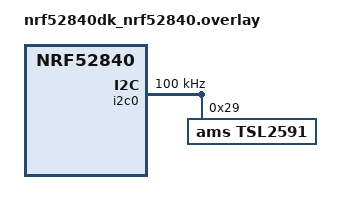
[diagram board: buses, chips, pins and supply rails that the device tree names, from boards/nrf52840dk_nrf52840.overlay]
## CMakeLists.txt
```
cmake_minimum_required(VERSION 3.20.0)

find_package(Zephyr REQUIRED HINTS $ENV{ZEPHYR_BASE})
project(rust_ble_app)

target_sources(app PRIVATE src/ble_wrapper.c)

rust_cargo_application()
```

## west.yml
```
manifest:
  remotes:
  - name: zephyr
    url-base: https://github.com/zephyrproject-rtos

  projects:
  - name: zephyr
    path: zephyr
    remote: zephyr
    revision: v4.2.1
    import:
       true

  - name: zephyr-lang-rust
    path: modules/lang/rust
    remote: zephyr
    revision: main
```

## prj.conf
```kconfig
CONFIG_RUST=y
CONFIG_BT=y
CONFIG_BT_PERIPHERAL=y
CONFIG_BT_DEVICE_NAME="Rust BLE"

CONFIG_SENSOR=y
```

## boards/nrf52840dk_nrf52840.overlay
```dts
/ {
  	aliases {
  		light-sensor = &tsl2591;
	};
};

&i2c0 {
	status = "okay";
	clock-frequency = <I2C_BITRATE_STANDARD>;
	tsl2591: tsl2591@29 {
		status ="okay";
		compatible = "ams,tsl2591";
		reg = <0x29>;
	};
};
```

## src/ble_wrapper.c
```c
#include <zephyr/kernel.h>
#include <zephyr/bluetooth/bluetooth.h>
#include <zephyr/bluetooth/hci.h>
#include <zephyr/bluetooth/conn.h>
#include <zephyr/bluetooth/uuid.h>
#include <zephyr/bluetooth/gatt.h>

#include <zephyr/device.h>

extern void rust_ble_disconnected(void);

// Simplified API for Rust
static void bt_ready(int err)
{
    if (err) {
        printk("Bluetooth init failed (err %d)\n", err);
        return;
    }
    printk("Bluetooth initialized\n");
}

// Simple C function that Rust can call
int ble_init(void)
{
    return bt_enable(bt_ready);
}

static const struct bt_data sd[] = {
	BT_DATA_BYTES(BT_DATA_FLAGS, (BT_LE_AD_GENERAL | BT_LE_AD_NO_BREDR)),
};

static const struct bt_data ad[] = {
	BT_DATA(BT_DATA_NAME_COMPLETE, CONFIG_BT_DEVICE_NAME, sizeof(CONFIG_BT_DEVICE_NAME) - 1)
};

int ble_start_advertising(void)
{
    return bt_le_adv_start(BT_LE_ADV_CONN, ad, ARRAY_SIZE(ad), sd, ARRAY_SIZE(sd));
}

// Connection callback
static void connected(struct bt_conn *conn, uint8_t err)
{
    if (err) {
        printk("Connection failed (err %u)\n", err);
        return;
    }
    printk("Connected\n");
    
    // Call Rust callback if needed
    extern void rust_ble_connected(void);
    rust_ble_connected();
}

static void disconnected(struct bt_conn *conn, uint8_t reason)
{
    printk("Disconnected (reason %u)\n", reason);
    
    rust_ble_disconnected();
}

BT_CONN_CB_DEFINE(conn_callbacks) = {
    .connected = connected,
    .disconnected = disconnected,
};

void sleep_ms(int32_t milliseconds)
{
    k_sleep(K_MSEC(milliseconds));
}

int get_light_value(const struct device *dev)
{
    return 100;
}
```

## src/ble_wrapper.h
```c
#ifndef BLE_WRAPPER_H
#define BLE_WRAPPER_H

#include <zephyr/device.h>

int ble_init(void);
int ble_start_advertising(void);
void sleep_ms(int32_t milliseconds);
int get_light_value(const struct device* dev);

#endif
```
